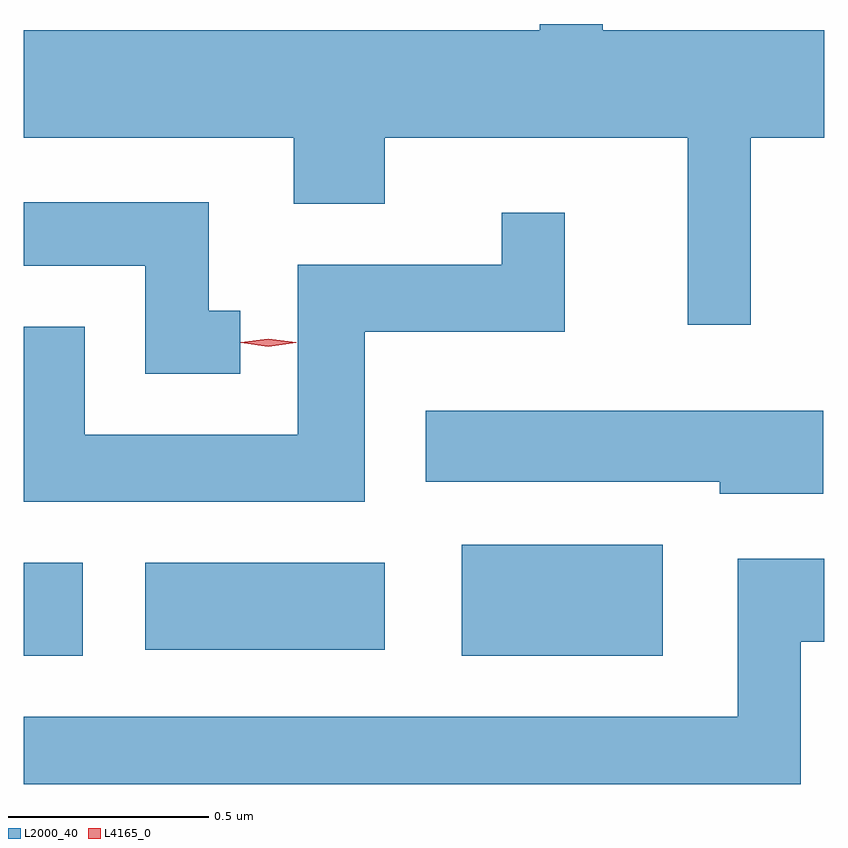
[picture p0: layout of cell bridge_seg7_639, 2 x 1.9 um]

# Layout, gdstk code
import gdstk
lib = gdstk.Library(unit=1e-6, precision=1e-09)
def R(c, l, rs):  # rectangles x0, y0, x1, y1
    for r in rs: c.add(gdstk.rectangle(r[:2], r[2:], *l))
def P(c, l, *ps):  # polygons
    for p in ps: c.add(gdstk.Polygon(p, *l))
L2000_40 = (2000, 40)
L4165_0 = (4165, 0)

bridge_seg7_639 = lib.new_cell('bridge_seg7_639')
R(bridge_seg7_639, L2000_40, [(816.997,1690.821,817.144,1691.054), (818.091,1690.821,818.594,1691.099), (817.301,1690.836,817.899,1691.054)])
P(bridge_seg7_639, L2000_40, [(818.444,1692.4),(818.286,1692.4),(818.286,1692.384),(816.997,1692.384),(816.997,1692.116),(817.671,1692.116),(817.671,1691.951),(817.899,1691.951),(817.899,1692.116),(818.656,1692.116),(818.656,1691.648),(818.814,1691.648),(818.814,1692.116),(818.997,1692.116),(818.997,1692.384),(818.444,1692.384)],
  [(817.538,1691.684),(817.459,1691.684),(817.459,1691.954),(816.997,1691.954),(816.997,1691.796),(817.301,1691.796),(817.301,1691.526),(817.538,1691.526)],
  [(817.849,1691.631),(818.349,1691.631),(818.349,1691.928),(818.191,1691.928),(818.191,1691.799),(817.681,1691.799),(817.681,1691.374),(817.149,1691.374),(817.149,1691.644),(816.997,1691.644),(816.997,1691.206),(817.849,1691.206)],
  [(818.994,1691.434),(818.001,1691.434),(818.001,1691.256),(818.736,1691.256),(818.736,1691.226),(818.994,1691.226)],
  [(818.939,1690.856),(818.997,1690.856),(818.997,1691.064),(818.781,1691.064),(818.781,1690.669),(816.997,1690.669),(816.997,1690.501),(818.939,1690.501)])
P(bridge_seg7_639, L4165_0, [(817.608,1691.594),(817.539,1691.604),(817.539,1691.604),(817.539,1691.605),(817.608,1691.614),(817.678,1691.605),(817.678,1691.604),(817.678,1691.604)])

lib.write_gds('bridge_seg7_639.gds')
